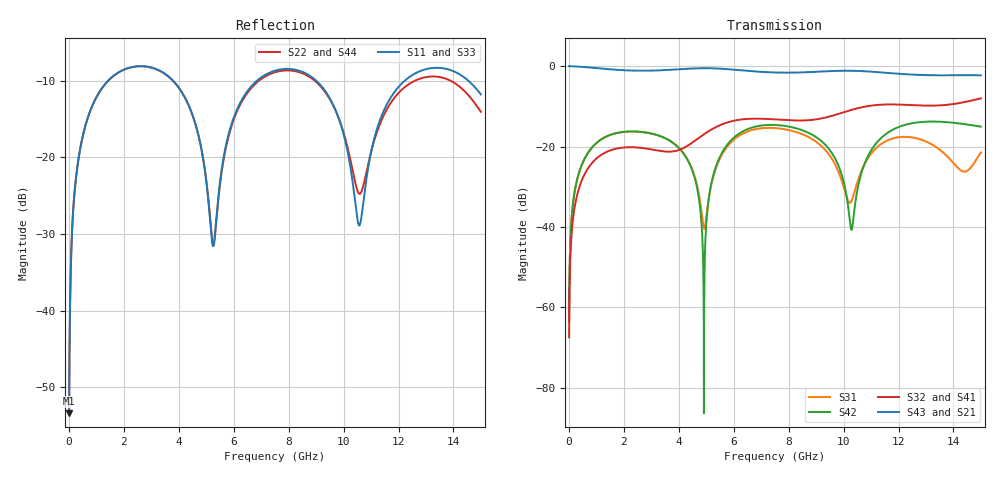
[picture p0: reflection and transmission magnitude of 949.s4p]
! Created with skrf 1.8.0 (http://scikit-rf.org).
# GHz S RI R 50.0
!freq ReS11 ImS11 ReS12 ImS12 ReS13 ImS13
! ReS14 ImS14
! ReS21 ImS21 ReS22 ImS22 ReS23 ImS23
! ReS24 ImS24
! ReS31 ImS31 ReS32 ImS32 ReS33 ImS33
! ReS34 ImS34
! ReS41 ImS41 ReS42 ImS42 ReS43 ImS43
! ReS44 ImS44
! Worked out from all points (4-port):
!   2499 points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, 5 MHz to 15 GHz, reference 50 ohm
!   strongest paths, dB at 5 MHz, 3.476 GHz, 7.19 GHz, 11.1 GHz, 15 GHz:
!     S43: 0.0, -1.0, -1.5, -1.4, -2.3
!     S21: 0.0, -1.0, -1.5, -1.4, -2.3
!     S32: -67.4, -21.2, -13.1, -9.7, -8.0
!     S41: -67.4, -21.3, -13.2, -9.7, -8.0
!     S42: -63.5, -17.8, -14.7, -20.0, -15.0
!     S31: -63.5, -17.9, -15.4, -21.0, -21.5
!   lowest |S11| = -53.4 dB at 5 MHz (marker M1), VSWR 1.00, Z = 50.2 + j0.13 ohm
!   |S11| at or under -10 dB: start of sweep to 1.423 GHz; 3.792 GHz to 6.841 GHz (3.049 GHz wide, 57.4 % of centre); 9.01 GHz to 12.22 GHz (3.212 GHz wide, 30.3 % of centre) (the widest 3 of 4)
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0.005  0.00171 0.0013  0.9983 -0.00332  8.54e-05 0.000662  -8.3e-05 -0.000417
       0.9983 -0.00332  0.00171 0.0013  -8.3e-05 -0.000417  8.54e-05 0.000662
       8.54e-05 0.000662  -8.3e-05 -0.000417  0.00171 0.0013  0.9983 -0.00332
       -8.3e-05 -0.000417  8.54e-05 0.000662  0.9983 -0.00332  0.00171 0.0013
1.569404  0.2869 0.1723  0.5138 -0.7497  0.1306 0.0555  -0.091 -0.000514
          0.5138 -0.7497  0.2865 0.1727  -0.0912 -0.000352  0.1312 0.0546
          0.1306 0.0555  -0.0912 -0.000352  0.2868 0.1724  0.5139 -0.7497
          -0.091 -0.000514  0.1312 0.0546  0.5139 -0.7497  0.2866 0.1727
4.189246  0.1724 -0.1838  -0.6813 -0.6212  0.0374 -0.0716  -0.0458 0.0845
          -0.6813 -0.6212  0.1737 -0.1829  -0.0446 0.0856  0.0406 -0.0694
          0.0374 -0.0716  -0.0446 0.0856  0.1726 -0.1835  -0.6813 -0.6212
          -0.0458 0.0845  0.0406 -0.0694  -0.6813 -0.6212  0.1735 -0.1832
4.908295  0.0425 -0.0817  -0.9025 -0.2692  -0.00928 -0.00283  -0.037 0.1364
          -0.9025 -0.2692  0.0436 -0.0827  -0.035 0.137  -2.69e-05 -0.000757
          -0.00928 -0.00283  -0.035 0.137  0.0427 -0.0816  -0.9025 -0.2694
          -0.037 0.1364  -2.69e-05 -0.000757  -0.9025 -0.2694  0.0435 -0.0828
6.302626  0.1712 0.1671  -0.7424 0.4813  0.1159 0.0845  0.1482 0.1585
          -0.7424 0.4813  0.1644 0.1651  0.1509 0.1568  0.1343 0.0727
          0.1159 0.0845  0.1509 0.1568  0.17 0.167  -0.7426 0.4811
          0.1482 0.1585  0.1343 0.0727  -0.7426 0.4811  0.1652 0.1647
10.60442  0.0362 0.00695  0.8631 0.1008  -0.00161 0.0454  0.0318 -0.3035
          0.8631 0.1008  0.058 0.00297  0.0214 -0.3041  0.0172 0.0377
          -0.00161 0.0454  0.0214 -0.3041  0.0431 0.00808  0.8632 0.1009
          0.0318 -0.3035  0.0172 0.0377  0.8632 0.1009  0.0509 0.00359
15  0.2155 -0.1417  -0.5685 -0.5159  -0.0635 0.0555  -0.2845 0.2771
    -0.5685 -0.5159  0.1875 -0.0656  -0.2726 0.2886  -0.166 -0.0615
    -0.0635 0.0555  -0.2726 0.2886  0.2108 -0.1441  -0.5692 -0.5162
    -0.2845 0.2771  -0.166 -0.0615  -0.5692 -0.5162  0.1853 -0.0604
